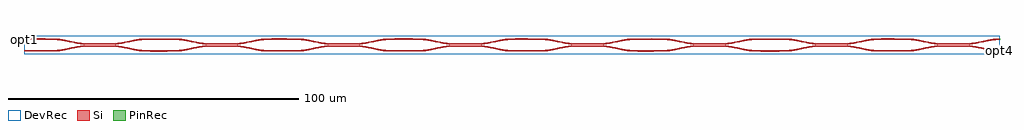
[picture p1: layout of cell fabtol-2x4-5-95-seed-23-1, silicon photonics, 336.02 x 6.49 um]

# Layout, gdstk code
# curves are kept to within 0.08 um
import gdstk
lib = gdstk.Library(unit=1e-6, precision=1e-09)
def R(c, l, rs):  # rectangles x0, y0, x1, y1
    for r in rs: c.add(gdstk.rectangle(r[:2], r[2:], *l))
def P(c, l, *ps):  # polygons
    for p in ps: c.add(gdstk.Polygon(p, *l))
Si = (1, 0)
PinRec = (1, 10)
DevRec = (68, 0)

layer_3_0_phase_sec_3_32 = lib.new_cell('layer-3_0_phase_sec_3$32')
P(layer_3_0_phase_sec_3_32, Si, [(3.393,-0.234),(0,-0.225),(0,0.225),(10,0.225),(10,-0.225)])

layer_3_0_phase_sec_2_32 = lib.new_cell('layer-3_0_phase_sec_2$32')
P(layer_3_0_phase_sec_2_32, Si, [(2.244,-0.245),(0,-0.225),(0,0.225),(10,0.225),(10,-0.225)])

layer_3_0_phase_sec_1_32 = lib.new_cell('layer-3_0_phase_sec_1$32')
P(layer_3_0_phase_sec_1_32, Si, [(3.215,-0.248),(0,-0.225),(0,0.225),(10,0.225),(10,-0.225)])

layer_3_0_phase_sec_0_32 = lib.new_cell('layer-3_0_phase_sec_0$32')
P(layer_3_0_phase_sec_0_32, Si, [(2.594,-0.231),(0,-0.225),(0,0.225),(10,0.225),(10,-0.225)])

layer_0_0_phase_sec_0_32 = lib.new_cell('layer-0_0_phase_sec_0$32')
P(layer_0_0_phase_sec_0_32, Si, [(2.951,-0.24),(0,-0.225),(0,0.225),(10,0.225),(10,-0.225)])

layer_0_0_phase_sec_1_32 = lib.new_cell('layer-0_0_phase_sec_1$32')
P(layer_0_0_phase_sec_1_32, Si, [(2.958,-0.227),(0,-0.225),(0,0.225),(10,0.225),(10,-0.225)])

dc_arm_down_32 = lib.new_cell('dc_arm_down$32')
R(dc_arm_down_32, Si, [(12,-0.55,20,-0.1)])
P(dc_arm_down_32, Si, [(32,-2.225),(30.861,-2.188),(29.344,-2.033),(22.966,-0.793),(21.481,-0.613),(20,-0.55),(20,-0.1),(21.139,-0.137),(22.656,-0.292),(29.034,-1.532),(30.519,-1.712),(32,-1.775)],
  [(0,-2.225),(0,-1.775),(1.481,-1.712),(2.966,-1.532),(9.344,-0.292),(10.861,-0.137),(12,-0.1),(12,-0.55),(10.519,-0.613),(9.034,-0.793),(2.656,-2.033),(1.139,-2.188)])

dc_arm_up_32 = lib.new_cell('dc_arm_up$32')
R(dc_arm_up_32, Si, [(12,0.1,20,0.55)])
P(dc_arm_up_32, Si, [(20,0.1),(20,0.55),(21.481,0.613),(22.966,0.793),(29.344,2.033),(30.861,2.188),(32,2.225),(32,1.775),(30.519,1.712),(29.034,1.532),(22.656,0.292),(21.139,0.137)],
  [(12,0.1),(10.861,0.137),(9.344,0.292),(2.966,1.532),(1.481,1.712),(0,1.775),(0,2.225),(1.139,2.188),(2.656,2.033),(9.034,0.793),(10.519,0.613),(12,0.55)])

dc_32 = lib.new_cell('dc$32')
dc_32.add(gdstk.Reference(dc_arm_down_32, (0,0)))
dc_32.add(gdstk.Reference(dc_arm_up_32, (0,0)))

layer_0_0_phase_sec_2_32 = lib.new_cell('layer-0_0_phase_sec_2$32')
P(layer_0_0_phase_sec_2_32, Si, [(2.769,-0.233),(0,-0.225),(0,0.225),(10,0.225),(10,-0.225)])

layer_0_0_phase_sec_3_32 = lib.new_cell('layer-0_0_phase_sec_3$32')
P(layer_0_0_phase_sec_3_32, Si, [(1.466,-0.245),(0,-0.225),(0,0.225),(10,0.225),(10,-0.225)])

layer_2_0_phase_sec_0_32 = lib.new_cell('layer-2_0_phase_sec_0$32')
P(layer_2_0_phase_sec_0_32, Si, [(2.144,-0.24),(0,-0.225),(0,0.225),(10,0.225),(10,-0.225)])

layer_1_0_phase_sec_0_32 = lib.new_cell('layer-1_0_phase_sec_0$32')
P(layer_1_0_phase_sec_0_32, Si, [(1.277,-0.245),(0,-0.225),(0,0.225),(10,0.225),(10,-0.225)])

layer_2_0_phase_sec_1_32 = lib.new_cell('layer-2_0_phase_sec_1$32')
P(layer_2_0_phase_sec_1_32, Si, [(2.471,-0.238),(0,-0.225),(0,0.225),(10,0.225),(10,-0.225)])

layer_1_0_phase_sec_1_32 = lib.new_cell('layer-1_0_phase_sec_1$32')
P(layer_1_0_phase_sec_1_32, Si, [(2.533,-0.232),(0,-0.225),(0,0.225),(10,0.225),(10,-0.225)])

layer_2_0_phase_sec_2_32 = lib.new_cell('layer-2_0_phase_sec_2$32')
P(layer_2_0_phase_sec_2_32, Si, [(6.178,-0.237),(0,-0.225),(0,0.225),(10,0.225),(10,-0.225)])

layer_1_0_phase_sec_2_32 = lib.new_cell('layer-1_0_phase_sec_2$32')
P(layer_1_0_phase_sec_2_32, Si, [(4.663,-0.246),(0,-0.225),(0,0.225),(10,0.225),(10,-0.225)])

layer_1_0_phase_sec_3_32 = lib.new_cell('layer-1_0_phase_sec_3$32')
P(layer_1_0_phase_sec_3_32, Si, [(4.387,-0.232),(0,-0.225),(0,0.225),(10,0.225),(10,-0.225)])

layer_2_0_phase_sec_3_32 = lib.new_cell('layer-2_0_phase_sec_3$32')
P(layer_2_0_phase_sec_3_32, Si, [(1.35,-0.242),(0,-0.225),(0,0.225),(10,0.225),(10,-0.225)])

fabtol_2x4_5_95_seed_23_ = lib.new_cell('fabtol-2x4-5-95-seed-23-1')
R(fabtol_2x4_5_95_seed_23_, DevRec, [(0,-1,336,5.494)])
fabtol_2x4_5_95_seed_23_.add(gdstk.FlexPath([(335.99,0.248),(336.01,0.248)], 0.45, ends="flush", simple_path=True, layer=1, datatype=10))  # PinRec
fabtol_2x4_5_95_seed_23_.add(gdstk.FlexPath([(335.99,4.248),(336.01,4.248)], 0.45, ends="flush", simple_path=True, layer=1, datatype=10))  # PinRec
fabtol_2x4_5_95_seed_23_.add(gdstk.FlexPath([(0.01,4.248),(-0.01,4.248)], 0.45, ends="flush", simple_path=True, layer=1, datatype=10))  # PinRec
fabtol_2x4_5_95_seed_23_.add(gdstk.Reference(layer_3_0_phase_sec_3_32, (294,0.248)))
fabtol_2x4_5_95_seed_23_.add(gdstk.Reference(layer_3_0_phase_sec_2_32, (294,4.248)))
fabtol_2x4_5_95_seed_23_.add(gdstk.Reference(layer_3_0_phase_sec_1_32, (252,0.248)))
fabtol_2x4_5_95_seed_23_.add(gdstk.Reference(layer_3_0_phase_sec_0_32, (252,4.248)))
fabtol_2x4_5_95_seed_23_.add(gdstk.Reference(layer_0_0_phase_sec_0_32, (0,4.248)))
fabtol_2x4_5_95_seed_23_.add(gdstk.Reference(layer_0_0_phase_sec_1_32, (0,0.248)))
fabtol_2x4_5_95_seed_23_.add(gdstk.Reference(dc_32, (10,2.248)))
fabtol_2x4_5_95_seed_23_.add(gdstk.Reference(dc_32, (52,2.248)))
fabtol_2x4_5_95_seed_23_.add(gdstk.Reference(dc_32, (94,2.248)))
fabtol_2x4_5_95_seed_23_.add(gdstk.Reference(dc_32, (136,2.248)))
fabtol_2x4_5_95_seed_23_.add(gdstk.Reference(dc_32, (178,2.248)))
fabtol_2x4_5_95_seed_23_.add(gdstk.Reference(dc_32, (220,2.248)))
fabtol_2x4_5_95_seed_23_.add(gdstk.Reference(dc_32, (262,2.248)))
fabtol_2x4_5_95_seed_23_.add(gdstk.Reference(dc_32, (304,2.248)))
fabtol_2x4_5_95_seed_23_.add(gdstk.Reference(layer_0_0_phase_sec_2_32, (42,4.248)))
fabtol_2x4_5_95_seed_23_.add(gdstk.Reference(layer_0_0_phase_sec_3_32, (42,0.248)))
fabtol_2x4_5_95_seed_23_.add(gdstk.Reference(layer_2_0_phase_sec_0_32, (168,4.248)))
fabtol_2x4_5_95_seed_23_.add(gdstk.Reference(layer_1_0_phase_sec_0_32, (84,4.248)))
fabtol_2x4_5_95_seed_23_.add(gdstk.Reference(layer_2_0_phase_sec_1_32, (168,0.248)))
fabtol_2x4_5_95_seed_23_.add(gdstk.Reference(layer_1_0_phase_sec_1_32, (84,0.248)))
fabtol_2x4_5_95_seed_23_.add(gdstk.Reference(layer_2_0_phase_sec_2_32, (210,4.248)))
fabtol_2x4_5_95_seed_23_.add(gdstk.Reference(layer_1_0_phase_sec_2_32, (126,4.248)))
fabtol_2x4_5_95_seed_23_.add(gdstk.Reference(layer_1_0_phase_sec_3_32, (126,0.248)))
fabtol_2x4_5_95_seed_23_.add(gdstk.Reference(layer_2_0_phase_sec_3_32, (210,0.248)))
fabtol_2x4_5_95_seed_23_.add(gdstk.Label('opt4', (336,0.248), layer=1, texttype=10))
fabtol_2x4_5_95_seed_23_.add(gdstk.Label('opt3', (336,4.248), layer=1, texttype=10))
fabtol_2x4_5_95_seed_23_.add(gdstk.Label('opt1', (0,4.248), layer=1, texttype=10))

lib.write_gds('fabtol-2x4-5-95-seed-23-1.gds')
